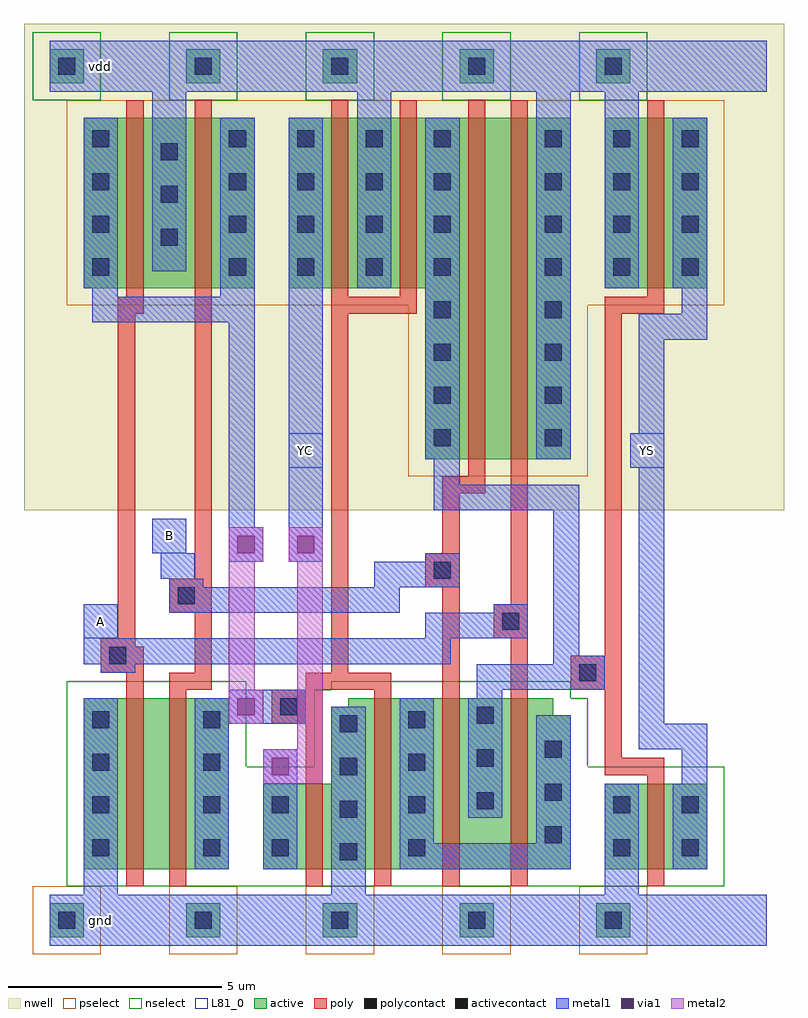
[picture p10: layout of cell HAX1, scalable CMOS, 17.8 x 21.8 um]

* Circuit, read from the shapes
.subckt HAX1 A B YC YS gnd vdd
M1 n1 A gnd gnd nfet w=4u l=0.4u
M2 n2 B n1 gnd nfet w=4u l=0.4u
M3 gnd n2 YC gnd nfet w=2u l=0.4u
M4 n3 n2 gnd gnd nfet w=4u l=0.4u
M5 n4 B n3 gnd nfet w=4u l=0.4u
M6 n3 A n4 gnd nfet w=4u l=0.4u
M7 YS n4 gnd gnd nfet w=2u l=0.4u
M8 vdd A n2 vdd pfet w=4u l=0.4u
M9 n2 B vdd vdd pfet w=4u l=0.4u
M10 vdd n2 YC vdd pfet w=4u l=0.4u
M11 n4 n2 vdd vdd pfet w=4u l=0.4u
M12 n5 B n4 vdd pfet w=8u l=0.4u
M13 vdd A n5 vdd pfet w=8u l=0.4u
M14 YS n4 vdd vdd pfet w=4u l=0.4u
.ends

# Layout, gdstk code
import gdstk
lib = gdstk.Library(unit=1e-6, precision=1e-09)
def R(c, l, rs):  # rectangles x0, y0, x1, y1
    for r in rs: c.add(gdstk.rectangle(r[:2], r[2:], *l))
def A(c, l, x, y, w, h, nx, ny, dx, dy):  # array of equal rectangles
    R(c, l, [(x+i*dx, y+j*dy, x+i*dx+w, y+j*dy+h) for i in range(nx) for j in range(ny)])
nwell = (42, 0)
active = (43, 0)
pselect = (44, 0)
nselect = (45, 0)
poly = (46, 0)
polycontact = (47, 0)
activecontact = (48, 0)
metal1 = (49, 0)
via1 = (50, 0)
metal2 = (51, 0)
L81_0 = (81, 0)

hax1 = lib.new_cell('HAX1')
R(hax1, nwell, [(-1,9.6,16.8,21)])
A(hax1, active, -0.4, -0.4, 0.8, 0.8, 5, 2, 3.2, 20)
R(hax1, active, [(0.4,1.2,3.8,5.2), (4.6,1.2,11.8,3.2), (12.6,1.2,15,3.2), (6.2,3.2,11.8,4.8), (6.2,4.8,11.4,5), (6.6,5,11.4,5.2), (8.4,10.8,11.8,14.8), (0.4,14.8,4.4,18.8), (5.2,14.8,11.8,18.8), (12.6,14.8,15,18.8)])
A(hax1, pselect, -0.8, -0.8, 1.6, 1.6, 5, 1, 3.2, 0)
R(hax1, pselect, [(8,10.4,12.2,14.4), (0,14.4,15.4,19.2)])
A(hax1, nselect, -0.8, 19.2, 1.6, 1.6, 5, 1, 3.2, 0)
R(hax1, nselect, [(0,0.8,15.4,3.6), (0,3.6,4.2,5.6), (5.8,3.6,12.2,5.2), (5.8,5.2,11.8,5.4), (6.2,5.4,11.8,5.6)])
R(hax1, poly, [(1.4,0.8,1.8,5.8), (2.4,0.8,2.8,5.4), (5.6,0.8,6,4.6), (7.2,0.8,7.6,5.4), (8.8,0.8,9.2,7.8), (10.4,0.8,10.8,6.6), (13.6,0.8,14,3.4), (12.6,3.4,14,3.8), (12.6,3.8,13,5.4), (4.8,4.6,6,5.4), (2.4,5.4,3.4,5.8), (5.6,5.4,7.6,5.8), (11.8,5.4,13,6.2), (0.8,5.8,1.8,6.4), (3,5.8,3.4,7.2), (6.2,5.8,6.6,14.2), (12.6,6.2,13,14.2), (0.8,6.4,1.6,6.6), (1.2,6.6,1.6,14.2), (10,6.6,10.8,7.4), (2.4,7.2,3.4,8), (10.4,7.4,10.8,19.2), (8.4,7.8,9.2,8.6), (3,8,3.4,19.2), (8.8,8.6,9.2,10), (8.8,10,9.8,10.4), (9.4,10.4,9.8,19.2), (1.2,14.2,1.8,14.6), (6.2,14.2,8.2,14.6), (12.6,14.2,14,14.6), (1.4,14.6,1.8,19.2), (6.2,14.6,6.6,19.2), (7.8,14.6,8.2,19.2), (13.6,14.6,14,19.2)])
R(hax1, polycontact, [(5,4.8,5.4,5.2), (12,5.6,12.4,6), (1,6,1.4,6.4), (10.2,6.8,10.6,7.2), (2.6,7.4,3,7.8), (8.6,8,9,8.4)])
A(hax1, activecontact, -0.2, -0.2, 0.4, 0.4, 5, 2, 3.2, 20)
A(hax1, activecontact, 6.4, 1.4, 0.4, 0.4, 1, 4, 0, 1)
A(hax1, activecontact, 0.6, 1.5, 0.4, 0.4, 1, 4, 0, 1)
A(hax1, activecontact, 3.2, 1.5, 0.4, 0.4, 1, 4, 0, 1)
A(hax1, activecontact, 8, 1.5, 0.4, 0.4, 1, 4, 0, 1)
A(hax1, activecontact, 11.2, 1.8, 0.4, 0.4, 1, 3, 0, 1)
A(hax1, activecontact, 9.6, 2.6, 0.4, 0.4, 1, 3, 0, 1)
A(hax1, activecontact, 8.6, 11.1, 0.4, 0.4, 1, 4, 0, 1)
A(hax1, activecontact, 11.2, 11.1, 0.4, 0.4, 1, 4, 0, 1)
A(hax1, activecontact, 0.6, 15.1, 0.4, 0.4, 1, 4, 0, 1)
A(hax1, activecontact, 3.8, 15.1, 0.4, 0.4, 4, 4, 1.6, 1)
A(hax1, activecontact, 11.2, 15.1, 0.4, 0.4, 3, 4, 1.6, 1)
A(hax1, activecontact, 2.2, 15.8, 0.4, 0.4, 1, 3, 0, 1)
R(hax1, activecontact, [(4.8,1.5,5.2,1.9), (12.8,1.5,13.2,1.9), (14.4,1.5,14.8,1.9), (4.8,2.5,5.2,2.9), (12.8,2.5,13.2,2.9), (14.4,2.5,14.8,2.9)])
R(hax1, metal1, [(-0.4,-0.6,16.4,0.6), (0.4,0.6,1.2,5.2), (6.2,0.6,7,5), (12.6,0.6,13.4,3.2), (3,1.2,3.8,4.6), (4.6,1.2,5.4,4), (7.8,1.2,11.8,1.8), (14.2,1.2,15,3.2), (7.8,1.8,8.6,5.2), (11,1.8,11.8,4.8), (9.4,2.4,10.2,5.2), (14.4,3.2,15,4), (13.4,4,15,4.6), (3,4.6,5.6,5.2), (13.4,4.6,14,10.6), (3.8,5.2,5.6,5.4), (9.6,5.2,10.2,5.4), (9.6,5.4,12.6,6), (0.8,5.8,1.6,6), (0.4,6,9,6.6), (11.4,6,12.6,6.2), (11.4,6.2,12,9.6), (0.4,6.6,1.2,7.4), (8.4,6.6,10.8,7.2), (2.4,7.2,7.8,7.8), (10,7.2,10.8,7.4), (2.4,7.8,3.2,8), (7.2,7.8,9.2,8.4), (2.2,8,3,8.6), (3.8,8.4,4.6,9.2), (5.2,8.4,6,18.8), (8.4,8.4,9.2,8.6), (2,8.6,2.8,9.4), (3.8,9.2,4.4,14), (8.6,9.6,12,10.2), (8.6,10.2,9.2,10.8), (13.2,10.6,14,11.4), (8.4,10.8,9.2,18.8), (11,10.8,11.8,19.4), (13.4,11.4,14,13.6), (13.4,13.6,15,14.2), (0.6,14,4.4,14.6), (14.4,14.2,15,14.8), (0.6,14.6,1.2,14.8), (3.6,14.6,4.4,18.8), (0.4,14.8,1.2,18.8), (6.8,14.8,7.6,19.4), (12.6,14.8,13.4,19.4), (14.2,14.8,15,18.8), (2,15.2,2.8,19.4), (-0.4,19.4,16.4,20.6)])
R(hax1, via1, [(4.8,3.4,5.2,3.8), (4,4.8,4.4,5.2), (4,8.6,4.4,9), (5.4,8.6,5.8,9)])
R(hax1, metal2, [(4.6,3.2,6,4), (5.4,4,6,8.4), (3.8,4.6,4.6,5.4), (3.8,5.4,4.4,8.4), (3.8,8.4,4.6,9.2), (5.2,8.4,6,9.2)])
R(hax1, L81_0, [(0.4,6.6,1.2,7.4), (2,8.6,2.8,9.4), (5.2,10.6,6,11.4), (13.2,10.6,14,11.4)])
hax1.add(gdstk.Label('vdd', (0.8,20), layer=109, texttype=0))
hax1.add(gdstk.Label('gnd', (0.8,0), layer=109, texttype=0))
hax1.add(gdstk.Label('YC', (5.6,11), layer=109, texttype=0))
hax1.add(gdstk.Label('A', (0.8,7), layer=109, texttype=0))
hax1.add(gdstk.Label('B', (2.4,9), layer=109, texttype=0))
hax1.add(gdstk.Label('YS', (13.6,11), layer=109, texttype=0))

lib.write_gds('HAX1.gds')
